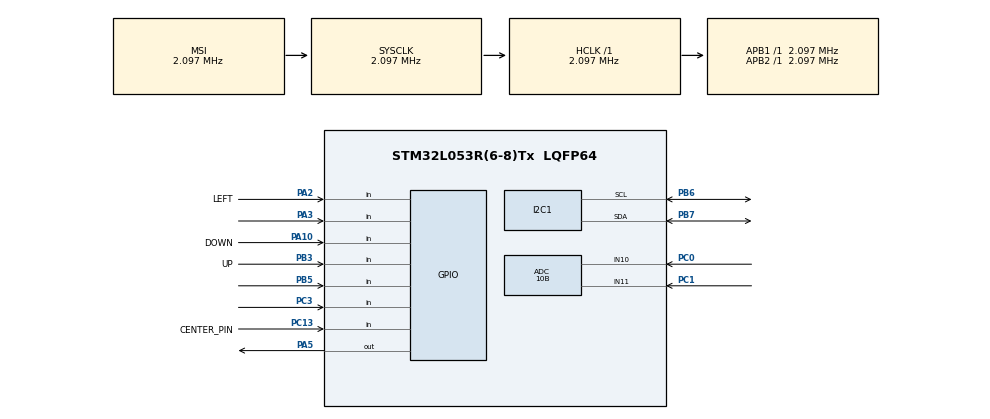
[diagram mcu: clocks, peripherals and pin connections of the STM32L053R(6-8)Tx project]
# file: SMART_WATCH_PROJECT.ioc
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ADC.ClockPrescaler=ADC_CLOCK_ASYNC_DIV1
ADC.ContinuousConvMode=ENABLE
ADC.EOCSelection=ADC_EOC_SEQ_CONV
ADC.Resolution=ADC_RESOLUTION_10B
Mcu.Family=STM32L0
Mcu.Name=STM32L053R(6-8)Tx
Mcu.Package=LQFP64
NVIC.RTC_IRQn=true\:0\:0\:false\:false\:true\:true\:true\:true
PA10.GPIO_Label=DOWN
PA10.Signal=GPIO_Input
PA13.Mode=Serial_Wire
PA13.Signal=SYS_SWDIO
PA14.Mode=Serial_Wire
PA14.Signal=SYS_SWCLK
PA2.GPIO_Label=LEFT
PA2.Signal=GPIO_Input
PA3.GPIO_PuPd=GPIO_NOPULL
PA3.Signal=GPIO_Input
PA5.PinState=GPIO_PIN_RESET
PA5.Signal=GPIO_Output
PB3.GPIO_Label=UP
PB3.Signal=GPIO_Input
PB5.Signal=GPIO_Input
PB6.Mode=I2C
PB6.Signal=I2C1_SCL
PB7.Mode=I2C
PB7.Signal=I2C1_SDA
PC0.Mode=IN10
PC0.Signal=ADC_IN10
PC1.Mode=IN11
PC1.Signal=ADC_IN11
PC13.GPIO_Label=CENTER_PIN
PC13.Signal=GPIO_Input
PC14-OSC32_IN.Mode=LSE-External-Oscillator
PC14-OSC32_IN.Signal=RCC_OSC32_IN
PC15-OSC32_OUT.Mode=LSE-External-Oscillator
PC15-OSC32_OUT.Signal=RCC_OSC32_OUT
PC3.GPIO_PuPd=GPIO_NOPULL
PC3.Signal=GPIO_Input
PH0-OSC_IN.Mode=HSE-External-Oscillator
PH0-OSC_IN.Signal=RCC_OSC_IN
PH1-OSC_OUT.Mode=HSE-External-Oscillator
PH1-OSC_OUT.Signal=RCC_OSC_OUT
ProjectManager.HeapSize=0x200
ProjectManager.StackSize=0x400
ProjectManager.TargetToolchain=STM32CubeIDE
RCC.AHBFreq_Value=2097000
RCC.APB1Freq_Value=2097000
RCC.APB1TimFreq_Value=2097000
RCC.APB2Freq_Value=2097000
RCC.APB2TimFreq_Value=2097000
RCC.HSE_VALUE=8000000
RCC.HSI16_VALUE=16000000
RCC.HSI48_VALUE=48000000
RCC.HSI_VALUE=16000000
RCC.MSI_VALUE=2097000
RCC.SYSCLKFreq_VALUE=2097000
RCC.VCOOutputFreq_Value=48000000
RTC.Alarm-Alarm\ A=RTC_ALARM_A
RTC.AlarmDateWeekDay-Alarm\ A=16
RTC.Date=18
RTC.Hours=10
RTC.Hours_A-Alarm\ A=10
RTC.Minutes=35
RTC.Minutes_A-Alarm\ A=36
RTC.Month=RTC_MONTH_MAY
RTC.Seconds=30
RTC.WeekDay=RTC_WEEKDAY_THURSDAY
RTC.Year=23
VP_RTC_VS_RTC_Activate.Mode=RTC_Enabled
VP_RTC_VS_RTC_Alarm_A_Intern.Mode=Alarm A
VP_RTC_VS_RTC_Calendar.Mode=RTC_Calendar
board=custom

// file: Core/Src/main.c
/* USER CODE BEGIN Header */
/**
  ******************************************************************************
  * @file           : main.c
  * @brief          : Main program body
  ******************************************************************************
  * @attention
  *
  * Copyright (c) 2023 STMicroelectronics.
  * All rights reserved.
  *
  * This software is licensed under terms that can be found in the LICENSE file
  * in the root directory of this software component.
  * If no LICENSE file comes with this software, it is provided AS-IS.
  *
  ******************************************************************************
  */
/* USER CODE END Header */
#include "main.h"

/* USER CODE BEGIN Includes */
#include "fonts.h"
#include "ssd1306.h"
#include "test.h"
#include "battery.h"
#include "stdio.h"
/* USER CODE END Includes */

/* USER CODE BEGIN PD */
#define CENTER_Pin GPIO_PIN_13
#define CENTER_GPIO_Port GPIOC
/* USER CODE END PD */

ADC_HandleTypeDef hadc;

I2C_HandleTypeDef hi2c1;

RTC_HandleTypeDef hrtc;

/* USER CODE BEGIN PV */
uint8_t time[10];
uint8_t date[10];
uint8_t day[10];
uint8_t today_1[10]="Monday";
uint8_t today_2[10]="Tuesday";
uint8_t today_3[10]="Wednesday";
uint8_t today_4[10]="Thursday";
uint8_t today_5[10]="Friday";
uint8_t today_6[10]="Saturday";
uint8_t today_7[10]="Sunday";
uint8_t alarm=0;
uint8_t adc_res=0;
uint8_t adc_val=0;
GPIO_PinState buttonState = GPIO_PIN_RESET;
GPIO_PinState lastButtonState = GPIO_PIN_RESET;
uint32_t buttonPressTime = 0;
int flag = 0;
uint8_t x=1;
uint16_t sensor1_data, sensor2_data, sensor3_data,sensor4_data;

/* USER CODE END PV */

void SystemClock_Config(void);
static void MX_GPIO_Init(void);
static void MX_RTC_Init(void);
static void MX_I2C1_Init(void);
static void MX_ADC_Init(void);
uint8_t day_function(void);

/* USER CODE BEGIN 0 */
void set_time(void)
{
	RTC_TimeTypeDef sTime = {0};
	RTC_DateTypeDef sDate = {0};

	sTime.Hours = 0x10;
	  sTime.Minutes = 0x35;
	  sTime.Seconds = 0x40;
	  sTime.DayLightSaving = RTC_DAYLIGHTSAVING_NONE;
	  sTime.StoreOperation = RTC_STOREOPERATION_RESET;
	  if (HAL_RTC_SetTime(&hrtc, &sTime, RTC_FORMAT_BCD) != HAL_OK)
	  {
	    Error_Handler();
	  }

	  sDate.WeekDay = RTC_WEEKDAY_TUESDAY;
	    sDate.Month = RTC_MONTH_MAY;
	    sDate.Date = 0x16;
	    sDate.Year = 0x0;

	    if (HAL_RTC_SetDate(&hrtc, &sDate, RTC_FORMAT_BCD) != HAL_OK)
	    {
	      Error_Handler();
	    }
	    HAL_RTCEx_BKUPWrite(&hrtc , RTC_BKP_DR1, 0x32F2);

}

void set_alarm(void)
{
	  RTC_AlarmTypeDef sAlarm = {0};
	sAlarm.AlarmTime.Hours = 0x10;
	  sAlarm.AlarmTime.Minutes = 0x36;
	  sAlarm.AlarmTime.Seconds = 0x00;
	  sAlarm.AlarmTime.SubSeconds = 0x0;
	  sAlarm.AlarmTime.DayLightSaving = RTC_DAYLIGHTSAVING_NONE;
	  sAlarm.AlarmTime.StoreOperation = RTC_STOREOPERATION_RESET;
	  sAlarm.AlarmMask = RTC_ALARMMASK_NONE;
	  sAlarm.AlarmSubSecondMask = RTC_ALARMSUBSECONDMASK_ALL;
	  sAlarm.AlarmDateWeekDaySel = RTC_ALARMDATEWEEKDAYSEL_DATE;
	  sAlarm.AlarmDateWeekDay = 0x18;
	  sAlarm.Alarm = RTC_ALARM_A;
	  if (HAL_RTC_SetAlarm_IT(&hrtc, &sAlarm, RTC_FORMAT_BCD) != HAL_OK)
	  {
	    Error_Handler();
	  }
}

void get_time(void)
{
  RTC_DateTypeDef gDate;
  RTC_TimeTypeDef gTime;

  /* Get the RTC current Time */
  HAL_RTC_GetTime(&hrtc, &gTime, RTC_FORMAT_BIN);
  /* Get the RTC current Date */
  HAL_RTC_GetDate(&hrtc, &gDate, RTC_FORMAT_BIN);

  /* Display time Format: hh:mm:ss */
  sprintf((char*)time,"%02d:%02d:%02d",gTime.Hours, gTime.Minutes, gTime.Seconds);

  /* Display date Format: mm-dd-yy */
  sprintf((char*)date,"%02d-%02d-%2d",gDate.Date, gDate.Month, 2000 + gDate.Year);  // I like the date first
  sprintf((char*)day,"%02d",gDate.WeekDay);
  day_function();

}

void HAL_RTC_AlarmAEventCallback(RTC_HandleTypeDef *hrtc)
{
	alarm=1;
}
void to_do_on_alarm(void)
{
    HAL_GPIO_WritePin(GPIOA,GPIO_PIN_5,1); //LED ON
    SSD1306_Clear ();
    SSD1306_GotoXY (0, 40);
	SSD1306_Puts ("ALARM ON", &Font_11x18, 1);
	SSD1306_UpdateScreen();
	HAL_Delay(5000);
	SSD1306_Clear ();
	HAL_Delay(1000);
	HAL_GPIO_WritePin(GPIOA,GPIO_PIN_5,0);
}

uint8_t day_function(void)
{
	if(day[0]==48&&day[1]==49)
	  {
		  memcpy(day,today_1,sizeof(day));

	  }
	  if(day[0]==48&&day[1]==50)
	    {
	  	  memcpy(day,today_2,sizeof(day));

	    }
	  if(day[0]==48&&day[1]==51)
	    {
	  	  memcpy(day,today_3,sizeof(day));

	    }
	  if(day[0]==48&&day[1]==52)
	    {
	  	  memcpy(day,today_4,sizeof(day));

	    }
	  if(day[0]==48&&day[1]==53)
	    {
	  	  memcpy(day,today_5,sizeof(day));

	    }
	  if(day[0]==48&&day[1]==54)
	    {
	  	  memcpy(day,today_6,sizeof(day));

	    }
	  if(day[0]==48&&day[1]==55)
	    {
	  	  memcpy(day,today_7,sizeof(day));

	    }
	  return day;
}

void home_screen(void)
{
	/* USER CODE END WHILE */

					  get_time();
					  SSD1306_GotoXY (15, 25);
					  SSD1306_Puts (time, &Font_11x18, 1);

					  SSD1306_GotoXY (0, 0);
					  SSD1306_Puts (date, &Font_7x10, 1);

					  SSD1306_GotoXY (10, 10);
					  SSD1306_Puts (day, &Font_7x10, 1);
					  SSD1306_UpdateScreen(); //display
					  SSD1306_DrawBitmap(100, 0, bat, 20, 12, 1);
					  HAL_Delay (200);

					 HAL_ADC_Start(&hadc);
					if(  HAL_ADC_PollForConversion(&hadc, 100)==HAL_OK)
					  {
						  adc_res=HAL_ADC_GetValue(&hadc);
						  adc_val=(adc_res*330)/1023;
						  if(adc_res<=60&&adc_res>=20)
						  {
							  SSD1306_GotoXY (102,2);
							  SSD1306_Puts ("25%", &Font_7x10, 0);
							  SSD1306_UpdateScreen();
						  }
						  if(adc_res<=100&&adc_res>=60)
						  {
							  SSD1306_GotoXY (102,2);
							  SSD1306_Puts ("50%", &Font_7x10, 0);
							  SSD1306_UpdateScreen();
						  }
						  if(adc_res<=200&&adc_res>=100)
						  {
							  SSD1306_GotoXY (102,2);
							  SSD1306_Puts ("75%", &Font_7x10, 0);
							  SSD1306_UpdateScreen();
						  }
						 if(adc_res>=200)
						  {
							  SSD1306_GotoXY (102,2);
							  SSD1306_Puts ("100%", &Font_7x10, 0);
							  SSD1306_UpdateScreen();
						  }
					  }

					  if(alarm)
						{
						  to_do_on_alarm();
						  alarm=0;

						}

					 /* USER CODE BEGIN 3 */

}

void up_button(void)
{
	if (HAL_GPIO_ReadPin(GPIOB, GPIO_PIN_3) == GPIO_PIN_RESET)
						{
						SSD1306_Clear ();
						HAL_Delay (10);
						int y=1;
						while(y)
						{
									HAL_ADC_Start(&hadc);
									HAL_ADC_PollForConversion(&hadc, 100);
									sensor1_data = HAL_ADC_GetValue(&hadc);
									sensor1_data=(((sensor1_data*330)/1023)-65580);
									 char buffer[16];
								//	 Display pressure value
								//	SSD1306_Clear();
									//HAL_Delay(100);
									SSD1306_GotoXY(0, 0);
									SSD1306_Puts("                            ", &Font_7x10, 1);
									SSD1306_GotoXY(0, 2);
									SSD1306_Puts(" TEMPERATURE            ", &Font_7x10, 1);
									SSD1306_GotoXY(10, 30);
									sprintf(buffer, "Temp now: %d'C", sensor1_data);
									SSD1306_Puts(buffer, &Font_7x10, 1);
									SSD1306_UpdateScreen();
									HAL_Delay(2000);
									HAL_GPIO_WritePin(GPIOA,GPIO_PIN_5,1); //LED ON
									HAL_Delay(80);
									HAL_GPIO_WritePin(GPIOA,GPIO_PIN_5,0);
															if (HAL_GPIO_ReadPin(GPIOB, GPIO_PIN_3) == GPIO_PIN_RESET)
															{
															SSD1306_Clear ();
															HAL_Delay (10);
															int y=1;
															while(y)
															{
																		HAL_ADC_Start(&hadc);
																		HAL_ADC_PollForConversion(&hadc, 100);
																		sensor1_data = HAL_ADC_GetValue(&hadc);
																		sensor1_data=(((sensor1_data*330)/1023)-65580);
																		 char buffer[16];
																	//	 Display pressure value
																	//	SSD1306_Clear();
																		//HAL_Delay(100);
																		SSD1306_GotoXY(0, 0);
																		SSD1306_Puts("                            ", &Font_7x10, 1);
																		SSD1306_GotoXY(0, 2);
																		SSD1306_Puts(" HUMIDITY            ", &Font_7x10, 1);
																		SSD1306_GotoXY(10, 30);
																		sprintf(buffer, "Humidity now: %d'", sensor1_data);
																		SSD1306_Puts(buffer, &Font_7x10, 1);
																		SSD1306_UpdateScreen();
																		HAL_Delay(2000);
																		HAL_GPIO_WritePin(GPIOA,GPIO_PIN_5,1); //LED ON
																		HAL_Delay(80);
																		HAL_GPIO_WritePin(GPIOA,GPIO_PIN_5,0);
																																	if (HAL_GPIO_ReadPin(GPIOB, GPIO_PIN_3) == GPIO_PIN_RESET)
																																	{
																																	SSD1306_Clear ();
																																	HAL_Delay (10);
																																	int y=1;
																																	while(y)
																																	{
																																				HAL_ADC_Start(&hadc);
																																				HAL_ADC_PollForConversion(&hadc, 100);
																																				sensor1_data = HAL_ADC_GetValue(&hadc);
																																				sensor1_data=(((sensor1_data*330)/1023)-65580);
																																				 char buffer[16];
																																			//	 Display pressure value
																																			//	SSD1306_Clear();
																																				//HAL_Delay(100);
																																				SSD1306_GotoXY(0, 0);
																																				SSD1306_Puts("                            ", &Font_7x10, 1);
																																				SSD1306_GotoXY(0, 2);
																																				SSD1306_Puts(" PULSE RATE            ", &Font_7x10, 1);
																																				SSD1306_GotoXY(10, 30);
																																				sprintf(buffer, "Pulse Rate now: %d'", sensor1_data);
																																				SSD1306_Puts(buffer, &Font_7x10, 1);
																																				SSD1306_UpdateScreen();
																																				HAL_Delay(2000);
																																				HAL_GPIO_WritePin(GPIOA,GPIO_PIN_5,1); //LED ON
																																				HAL_Delay(80);
																																				HAL_GPIO_WritePin(GPIOA,GPIO_PIN_5,0);
																																				                                                           if (HAL_GPIO_ReadPin(GPIOB, GPIO_PIN_3) == GPIO_PIN_RESET)
																																																			{
																																																			SSD1306_Clear ();
																																																			HAL_Delay (10);
																																																			int y=1;
																																																			while(y)
																																																			{
																																																						HAL_ADC_Start(&hadc);
																																																						HAL_ADC_PollForConversion(&hadc, 100);
																																																						sensor1_data = HAL_ADC_GetValue(&hadc);
																																																						sensor1_data=(((sensor1_data*330)/1023)-65580);
																																																						 char buffer[16];
																																																					//	 Display pressure value
																																																					//	SSD1306_Clear();
																																																						//HAL_Delay(100);
																																																						SSD1306_GotoXY(0, 0);
																																																						SSD1306_Puts("                            ", &Font_7x10, 1);
																																																						SSD1306_GotoXY(0, 2);
																																																						SSD1306_Puts(" PRESSURE           ", &Font_7x10, 1);
																																																						SSD1306_GotoXY(10, 30);
																																																						sprintf(buffer, "Pressure now: %d'", sensor1_data);
																																																						SSD1306_Puts(buffer, &Font_7x10, 1);
																																																						SSD1306_UpdateScreen();
																																																						HAL_Delay(2000);
																																																						HAL_GPIO_WritePin(GPIOA,GPIO_PIN_5,1); //LED ON
																																																						HAL_Delay(80);
																																																						HAL_GPIO_WritePin(GPIOA,GPIO_PIN_5,0);

																																																						 if (HAL_GPIO_ReadPin(GPIOC, GPIO_PIN_13) == GPIO_PIN_RESET)
																																																											{
																																																											 SSD1306_Clear();
																																																											 HAL_Delay(100);
																																																											 flag=0;
																																																											 x=0;
																																																											 y=0;
																																																											}
																																																			}
																																																			}
																																				 if (HAL_GPIO_ReadPin(GPIOC, GPIO_PIN_13) == GPIO_PIN_RESET)
																																									{
																																									 SSD1306_Clear();
																																									 HAL_Delay(100);
																																									 flag=0;
																																									 x=0;
																																									 y=0;
																																									}
																																	}
																																	}
																		 if (HAL_GPIO_ReadPin(GPIOC, GPIO_PIN_13) == GPIO_PIN_RESET)
																							{
																							 SSD1306_Clear();
																							 HAL_Delay(100);
																							 flag=0;
																							 x=0;
																							 y=0;
																							}
															}
															}
									 if (HAL_GPIO_ReadPin(GPIOC, GPIO_PIN_13) == GPIO_PIN_RESET)
														{
														 SSD1306_Clear();
														 HAL_Delay(100);
														 flag=0;
														 x=0;
														 y=0;
														}
						}
						}
}

void settings(void)
{
	SSD1306_Clear ();
	HAL_Delay (100);
	while(x)
	{
	SSD1306_GotoXY (0,0);
	SSD1306_Puts ("                            ", &Font_7x10, 0);
	SSD1306_GotoXY (0,2);
	SSD1306_Puts ("      SETTINGS            ", &Font_7x10, 0);
	SSD1306_GotoXY (0,12);
	SSD1306_Puts (" U-Pulse Rate        ", &Font_7x10, 0);
	SSD1306_GotoXY (0,22);
	SSD1306_Puts (" D-Temperature        ", &Font_7x10, 0);
	SSD1306_GotoXY (0,32);
	SSD1306_Puts (" L-Humidity           ", &Font_7x10, 0);
	SSD1306_GotoXY (0,42);
	SSD1306_Puts (" R-Pressure           ", &Font_7x10, 0);
	SSD1306_UpdateScreen();
	HAL_Delay (500);
	up_button();
	}
}

/* USER CODE END 0 */

int main(void)
{

  /* MCU Configuration--------------------------------------------------------*/

  /* Reset of all peripherals, Initializes the Flash interface and the Systick. */
    HAL_Init();

  /* Configure the system clock */
  SystemClock_Config();

  /* Initialize all configured peripherals */
  MX_GPIO_Init();
  MX_RTC_Init();
  MX_I2C1_Init();
  MX_ADC_Init();
  /* USER CODE BEGIN 2 */
  SSD1306_Init();

    if(HAL_RTCEx_BKUPRead(&hrtc, RTC_BKP_DR1)!= 0x32F2)
    {
    set_time();
    }
    set_alarm();

  /* USER CODE END 2 */

  /* Infinite loop */

  /* USER CODE BEGIN WHILE */
	while (1)
	{

														    home_screen();
														    buttonState = HAL_GPIO_ReadPin(CENTER_GPIO_Port, CENTER_Pin);

														    if (buttonState != lastButtonState)
														    {
														        if (HAL_GetTick() - buttonPressTime >= 2000) // Button held down for 2 seconds
														        {
														            flag = 1;
														        }
														        lastButtonState = buttonState;
														    }

														    if (flag == 1 && buttonState == GPIO_PIN_RESET && HAL_GetTick() - buttonPressTime >= 2000)
														    {
														        settings();
														    }
		}

  /* USER CODE END 3 */
}

void SystemClock_Config(void)
{
  RCC_OscInitTypeDef RCC_OscInitStruct = {0};
  RCC_ClkInitTypeDef RCC_ClkInitStruct = {0};
  RCC_PeriphCLKInitTypeDef PeriphClkInit = {0};

  /** Configure the main internal regulator output voltage
  */
  __HAL_PWR_VOLTAGESCALING_CONFIG(PWR_REGULATOR_VOLTAGE_SCALE1);

  /** Initializes the RCC Oscillators according to the specified parameters
  * in the RCC_OscInitTypeDef structure.
  */
  RCC_OscInitStruct.OscillatorType = RCC_OSCILLATORTYPE_HSI|RCC_OSCILLATORTYPE_LSI
                              |RCC_OSCILLATORTYPE_MSI;
  RCC_OscInitStruct.HSIState = RCC_HSI_ON;
  RCC_OscInitStruct.HSICalibrationValue = RCC_HSICALIBRATION_DEFAULT;
  RCC_OscInitStruct.LSIState = RCC_LSI_ON;
  RCC_OscInitStruct.MSIState = RCC_MSI_ON;
  RCC_OscInitStruct.MSICalibrationValue = 0;
  RCC_OscInitStruct.MSIClockRange = RCC_MSIRANGE_5;
  RCC_OscInitStruct.PLL.PLLState = RCC_PLL_NONE;
  if (HAL_RCC_OscConfig(&RCC_OscInitStruct) != HAL_OK)
  {
    Error_Handler();
  }

  /** Initializes the CPU, AHB and APB buses clocks
  */
  RCC_ClkInitStruct.ClockType = RCC_CLOCKTYPE_HCLK|RCC_CLOCKTYPE_SYSCLK
                              |RCC_CLOCKTYPE_PCLK1|RCC_CLOCKTYPE_PCLK2;
  RCC_ClkInitStruct.SYSCLKSource = RCC_SYSCLKSOURCE_MSI;
  RCC_ClkInitStruct.AHBCLKDivider = RCC_SYSCLK_DIV1;
  RCC_ClkInitStruct.APB1CLKDivider = RCC_HCLK_DIV1;
  RCC_ClkInitStruct.APB2CLKDivider = RCC_HCLK_DIV1;

  if (HAL_RCC_ClockConfig(&RCC_ClkInitStruct, FLASH_LATENCY_0) != HAL_OK)
  {
    Error_Handler();
  }
  PeriphClkInit.PeriphClockSelection = RCC_PERIPHCLK_I2C1|RCC_PERIPHCLK_RTC;
  PeriphClkInit.I2c1ClockSelection = RCC_I2C1CLKSOURCE_PCLK1;
  PeriphClkInit.RTCClockSelection = RCC_RTCCLKSOURCE_LSI;
  if (HAL_RCCEx_PeriphCLKConfig(&PeriphClkInit) != HAL_OK)
  {
    Error_Handler();
  }
}

static void MX_ADC_Init(void)
{

  ADC_ChannelConfTypeDef sConfig = {0};

  /** Configure the global features of the ADC (Clock, Resolution, Data Alignment and number of conversion)
  */
  hadc.Instance = ADC1;
  hadc.Init.OversamplingMode = DISABLE;
  hadc.Init.ClockPrescaler = ADC_CLOCK_ASYNC_DIV1;
  hadc.Init.Resolution = ADC_RESOLUTION_10B;
  hadc.Init.SamplingTime = ADC_SAMPLETIME_1CYCLE_5;
  hadc.Init.ScanConvMode = ADC_SCAN_DIRECTION_FORWARD;
  hadc.Init.DataAlign = ADC_DATAALIGN_RIGHT;
  hadc.Init.ContinuousConvMode = ENABLE;
  hadc.Init.DiscontinuousConvMode = DISABLE;
  hadc.Init.ExternalTrigConvEdge = ADC_EXTERNALTRIGCONVEDGE_NONE;
  hadc.Init.ExternalTrigConv = ADC_SOFTWARE_START;
  hadc.Init.DMAContinuousRequests = DISABLE;
  hadc.Init.EOCSelection = ADC_EOC_SEQ_CONV;
  hadc.Init.Overrun = ADC_OVR_DATA_PRESERVED;
  hadc.Init.LowPowerAutoWait = DISABLE;
  hadc.Init.LowPowerFrequencyMode = DISABLE;
  hadc.Init.LowPowerAutoPowerOff = DISABLE;
  if (HAL_ADC_Init(&hadc) != HAL_OK)
  {
    Error_Handler();
  }

  /** Configure for the selected ADC regular channel to be converted.
  */
  sConfig.Channel = ADC_CHANNEL_10;
  sConfig.Rank = ADC_RANK_CHANNEL_NUMBER;
  if (HAL_ADC_ConfigChannel(&hadc, &sConfig) != HAL_OK)
  {
    Error_Handler();
  }

  /** Configure for the selected ADC regular channel to be converted.
  */
  sConfig.Channel = ADC_CHANNEL_11;
  if (HAL_ADC_ConfigChannel(&hadc, &sConfig) != HAL_OK)
  {
    Error_Handler();
  }

}

static void MX_I2C1_Init(void)
{

  hi2c1.Instance = I2C1;
  hi2c1.Init.Timing = 0x00000708;
  hi2c1.Init.OwnAddress1 = 0;
  hi2c1.Init.AddressingMode = I2C_ADDRESSINGMODE_7BIT;
  hi2c1.Init.DualAddressMode = I2C_DUALADDRESS_DISABLE;
  hi2c1.Init.OwnAddress2 = 0;
  hi2c1.Init.OwnAddress2Masks = I2C_OA2_NOMASK;
  hi2c1.Init.GeneralCallMode = I2C_GENERALCALL_DISABLE;
  hi2c1.Init.NoStretchMode = I2C_NOSTRETCH_DISABLE;
  if (HAL_I2C_Init(&hi2c1) != HAL_OK)
  {
    Error_Handler();
  }

  /** Configure Analogue filter
  */
  if (HAL_I2CEx_ConfigAnalogFilter(&hi2c1, I2C_ANALOGFILTER_ENABLE) != HAL_OK)
  {
    Error_Handler();
  }

  /** Configure Digital filter
  */
  if (HAL_I2CEx_ConfigDigitalFilter(&hi2c1, 0) != HAL_OK)
  {
    Error_Handler();
  }

}

static void MX_RTC_Init(void)
{

  RTC_TimeTypeDef sTime = {0};
  RTC_DateTypeDef sDate = {0};
  RTC_AlarmTypeDef sAlarm = {0};

  /** Initialize RTC Only
  */
  hrtc.Instance = RTC;
  hrtc.Init.HourFormat = RTC_HOURFORMAT_24;
  hrtc.Init.AsynchPrediv = 127;
  hrtc.Init.SynchPrediv = 255;
  hrtc.Init.OutPut = RTC_OUTPUT_DISABLE;
  hrtc.Init.OutPutRemap = RTC_OUTPUT_REMAP_NONE;
  hrtc.Init.OutPutPolarity = RTC_OUTPUT_POLARITY_HIGH;
  hrtc.Init.OutPutType = RTC_OUTPUT_TYPE_OPENDRAIN;
  if (HAL_RTC_Init(&hrtc) != HAL_OK)
  {
    Error_Handler();
  }

  /** Initialize RTC and set the Time and Date
  */
  sTime.Hours = 0x10;
  sTime.Minutes = 0x35;
  sTime.Seconds = 0x30;
  sTime.DayLightSaving = RTC_DAYLIGHTSAVING_NONE;
  sTime.StoreOperation = RTC_STOREOPERATION_RESET;
  if (HAL_RTC_SetTime(&hrtc, &sTime, RTC_FORMAT_BCD) != HAL_OK)
  {
    Error_Handler();
  }
  sDate.WeekDay = RTC_WEEKDAY_THURSDAY;
  sDate.Month = RTC_MONTH_MAY;
  sDate.Date = 0x18;
  sDate.Year = 0x23;

  if (HAL_RTC_SetDate(&hrtc, &sDate, RTC_FORMAT_BCD) != HAL_OK)
  {
    Error_Handler();
  }

  /** Enable the Alarm A
  */
  sAlarm.AlarmTime.Hours = 0x10;
  sAlarm.AlarmTime.Minutes = 0x36;
  sAlarm.AlarmTime.Seconds = 0x0;
  sAlarm.AlarmTime.SubSeconds = 0x0;
  sAlarm.AlarmTime.DayLightSaving = RTC_DAYLIGHTSAVING_NONE;
  sAlarm.AlarmTime.StoreOperation = RTC_STOREOPERATION_RESET;
  sAlarm.AlarmMask = RTC_ALARMMASK_NONE;
  sAlarm.AlarmSubSecondMask = RTC_ALARMSUBSECONDMASK_ALL;
  sAlarm.AlarmDateWeekDaySel = RTC_ALARMDATEWEEKDAYSEL_DATE;
  sAlarm.AlarmDateWeekDay = 0x16;
  sAlarm.Alarm = RTC_ALARM_A;
  if (HAL_RTC_SetAlarm_IT(&hrtc, &sAlarm, RTC_FORMAT_BCD) != HAL_OK)
  {
    Error_Handler();
  }

}

static void MX_GPIO_Init(void)
{
  GPIO_InitTypeDef GPIO_InitStruct = {0};

  /* GPIO Ports Clock Enable */
  __HAL_RCC_GPIOC_CLK_ENABLE();
  __HAL_RCC_GPIOH_CLK_ENABLE();
  __HAL_RCC_GPIOA_CLK_ENABLE();
  __HAL_RCC_GPIOB_CLK_ENABLE();

  /*Configure GPIO pin Output Level */
  HAL_GPIO_WritePin(GPIOA, GPIO_PIN_5, GPIO_PIN_RESET);

  /*Configure GPIO pins : CENTER_PIN_Pin PC3 */
  GPIO_InitStruct.Pin = CENTER_PIN_Pin|GPIO_PIN_3;
  GPIO_InitStruct.Mode = GPIO_MODE_INPUT;
  GPIO_InitStruct.Pull = GPIO_NOPULL;
  HAL_GPIO_Init(GPIOC, &GPIO_InitStruct);

  /*Configure GPIO pins : LEFT_Pin PA3 DOWN_Pin */
  GPIO_InitStruct.Pin = LEFT_Pin|GPIO_PIN_3|DOWN_Pin;
  GPIO_InitStruct.Mode = GPIO_MODE_INPUT;
  GPIO_InitStruct.Pull = GPIO_NOPULL;
  HAL_GPIO_Init(GPIOA, &GPIO_InitStruct);

  /*Configure GPIO pin : PA5 */
  GPIO_InitStruct.Pin = GPIO_PIN_5;
  GPIO_InitStruct.Mode = GPIO_MODE_OUTPUT_PP;
  GPIO_InitStruct.Pull = GPIO_NOPULL;
  GPIO_InitStruct.Speed = GPIO_SPEED_FREQ_LOW;
  HAL_GPIO_Init(GPIOA, &GPIO_InitStruct);

  /*Configure GPIO pin : UP_Pin */
  GPIO_InitStruct.Pin = UP_Pin;
  GPIO_InitStruct.Mode = GPIO_MODE_INPUT;
  GPIO_InitStruct.Pull = GPIO_NOPULL;
  HAL_GPIO_Init(UP_GPIO_Port, &GPIO_InitStruct);

}

void Error_Handler(void)
{
  __disable_irq();
  while (1)
  {
  }
}
